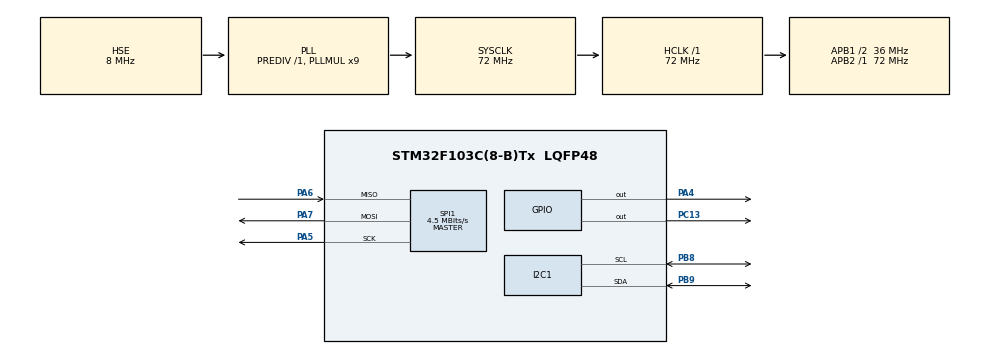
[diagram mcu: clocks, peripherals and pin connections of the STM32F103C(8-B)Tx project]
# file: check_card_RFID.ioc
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Mcu.Family=STM32F1
Mcu.Name=STM32F103C(8-B)Tx
Mcu.Package=LQFP48
NVIC.PriorityGroup=NVIC_PRIORITYGROUP_4
PA13.Mode=Serial_Wire
PA13.Signal=SYS_JTMS-SWDIO
PA14.Mode=Serial_Wire
PA14.Signal=SYS_JTCK-SWCLK
PA4.Signal=GPIO_Output
PA5.Mode=Full_Duplex_Master
PA5.Signal=SPI1_SCK
PA6.Mode=Full_Duplex_Master
PA6.Signal=SPI1_MISO
PA7.Mode=Full_Duplex_Master
PA7.Signal=SPI1_MOSI
PB8.Mode=I2C
PB8.Signal=I2C1_SCL
PB9.Mode=I2C
PB9.Signal=I2C1_SDA
PC13-TAMPER-RTC.Signal=GPIO_Output
PD0-OSC_IN.Mode=HSE-External-Oscillator
PD0-OSC_IN.Signal=RCC_OSC_IN
PD1-OSC_OUT.Mode=HSE-External-Oscillator
PD1-OSC_OUT.Signal=RCC_OSC_OUT
ProjectManager.HeapSize=0x200
ProjectManager.StackSize=0x400
ProjectManager.TargetToolchain=MDK-ARM V5
RCC.AHBFreq_Value=72000000
RCC.APB1CLKDivider=RCC_HCLK_DIV2
RCC.APB1Freq_Value=36000000
RCC.APB1TimFreq_Value=72000000
RCC.APB2Freq_Value=72000000
RCC.APB2TimFreq_Value=72000000
RCC.HCLKFreq_Value=72000000
RCC.PLLMUL=RCC_PLL_MUL9
RCC.PLLSourceVirtual=RCC_PLLSOURCE_HSE
RCC.SYSCLKFreq_VALUE=72000000
RCC.SYSCLKSource=RCC_SYSCLKSOURCE_PLLCLK
RCC.USBFreq_Value=72000000
SPI1.BaudRatePrescaler=SPI_BAUDRATEPRESCALER_16
SPI1.CalculateBaudRate=4.5 MBits/s
SPI1.Direction=SPI_DIRECTION_2LINES
SPI1.Mode=SPI_MODE_MASTER
SPI1.VirtualType=VM_MASTER
board=custom

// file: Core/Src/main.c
/* USER CODE BEGIN Header */
/**
  ******************************************************************************
  * @file           : main.c
  * @brief          : Main program body
  ******************************************************************************
  * @attention
  *
  * Copyright (c) 2023 STMicroelectronics.
  * All rights reserved.
  *
  * This software is licensed under terms that can be found in the LICENSE file
  * in the root directory of this software component.
  * If no LICENSE file comes with this software, it is provided AS-IS.
  *
  ******************************************************************************
  */
/* USER CODE END Header */
#include "main.h"

/* USER CODE BEGIN Includes */
#include "rc522.h"
#include "lcd.h"
#include "string.h"
#include "stdio.h"
#include "stdbool.h"
#include "flash.h"
/* USER CODE END Includes */

/* USER CODE BEGIN PD */
// Cac mode chuong trinh
#define ADDRESS_DATA_STORAGE (0x08000000+ 120*1024)
#define MODE_RUN 0
#define MODE_CHANGE 1
#define MODE_INPUT_PASS 3
// Trang thai
#define OK 0
#define NOT_OK 1
/* USER CODE END PD */

I2C_HandleTypeDef hi2c1;

SPI_HandleTypeDef hspi1;

/* USER CODE BEGIN PV */
int value;
char i,j,tmp;
char status;
char str[MFRC522_MAX_LEN]; //MFRC522_MAX_LEN = 16
char serNum[5];
int count_error_rfid = 0;
int wrong_card = 0;
uint8_t key_card[4] = {0x13,0xC8,0xC8,0x0D};
/* USER CODE END PV */

void SystemClock_Config(void);
static void MX_GPIO_Init(void);
static void MX_I2C1_Init(void);
static void MX_SPI1_Init(void);
void check_card_RFID(void);

int main(void)
{

  /* MCU Configuration--------------------------------------------------------*/

  /* Reset of all peripherals, Initializes the Flash interface and the Systick. */
  HAL_Init();

  /* Configure the system clock */
  SystemClock_Config();

  /* Initialize all configured peripherals */
  MX_GPIO_Init();
  MX_I2C1_Init();
  MX_SPI1_Init();
  /* USER CODE BEGIN 2 */
	lcd_init();
	lcd_send_cmd(0x80);
	lcd_send_string("WELLCOME HAUI");
	HAL_Delay(1000);
	lcd_clear();
	MFRC522_Init();
	Flash_Erase(ADDRESS_DATA_STORAGE);
	Flash_Write_Int(ADDRESS_DATA_STORAGE, 1000);
	value = Flash_Read_Int(ADDRESS_DATA_STORAGE);
  /* USER CODE END 2 */

  /* Infinite loop */
  while (1)
  {

    /* USER CODE BEGIN 3 */
		check_card_RFID();
  }
  /* USER CODE END 3 */
}

void SystemClock_Config(void)
{
  RCC_OscInitTypeDef RCC_OscInitStruct = {0};
  RCC_ClkInitTypeDef RCC_ClkInitStruct = {0};

  /** Initializes the RCC Oscillators according to the specified parameters
  * in the RCC_OscInitTypeDef structure.
  */
  RCC_OscInitStruct.OscillatorType = RCC_OSCILLATORTYPE_HSE;
  RCC_OscInitStruct.HSEState = RCC_HSE_ON;
  RCC_OscInitStruct.HSEPredivValue = RCC_HSE_PREDIV_DIV1;
  RCC_OscInitStruct.HSIState = RCC_HSI_ON;
  RCC_OscInitStruct.PLL.PLLState = RCC_PLL_ON;
  RCC_OscInitStruct.PLL.PLLSource = RCC_PLLSOURCE_HSE;
  RCC_OscInitStruct.PLL.PLLMUL = RCC_PLL_MUL9;
  if (HAL_RCC_OscConfig(&RCC_OscInitStruct) != HAL_OK)
  {
    Error_Handler();
  }

  /** Initializes the CPU, AHB and APB buses clocks
  */
  RCC_ClkInitStruct.ClockType = RCC_CLOCKTYPE_HCLK|RCC_CLOCKTYPE_SYSCLK
                              |RCC_CLOCKTYPE_PCLK1|RCC_CLOCKTYPE_PCLK2;
  RCC_ClkInitStruct.SYSCLKSource = RCC_SYSCLKSOURCE_PLLCLK;
  RCC_ClkInitStruct.AHBCLKDivider = RCC_SYSCLK_DIV1;
  RCC_ClkInitStruct.APB1CLKDivider = RCC_HCLK_DIV2;
  RCC_ClkInitStruct.APB2CLKDivider = RCC_HCLK_DIV1;

  if (HAL_RCC_ClockConfig(&RCC_ClkInitStruct, FLASH_LATENCY_2) != HAL_OK)
  {
    Error_Handler();
  }
}

static void MX_I2C1_Init(void)
{

  hi2c1.Instance = I2C1;
  hi2c1.Init.ClockSpeed = 100000;
  hi2c1.Init.DutyCycle = I2C_DUTYCYCLE_2;
  hi2c1.Init.OwnAddress1 = 0;
  hi2c1.Init.AddressingMode = I2C_ADDRESSINGMODE_7BIT;
  hi2c1.Init.DualAddressMode = I2C_DUALADDRESS_DISABLE;
  hi2c1.Init.OwnAddress2 = 0;
  hi2c1.Init.GeneralCallMode = I2C_GENERALCALL_DISABLE;
  hi2c1.Init.NoStretchMode = I2C_NOSTRETCH_DISABLE;
  if (HAL_I2C_Init(&hi2c1) != HAL_OK)
  {
    Error_Handler();
  }

}

static void MX_SPI1_Init(void)
{

  /* SPI1 parameter configuration*/
  hspi1.Instance = SPI1;
  hspi1.Init.Mode = SPI_MODE_MASTER;
  hspi1.Init.Direction = SPI_DIRECTION_2LINES;
  hspi1.Init.DataSize = SPI_DATASIZE_8BIT;
  hspi1.Init.CLKPolarity = SPI_POLARITY_LOW;
  hspi1.Init.CLKPhase = SPI_PHASE_1EDGE;
  hspi1.Init.NSS = SPI_NSS_SOFT;
  hspi1.Init.BaudRatePrescaler = SPI_BAUDRATEPRESCALER_16;
  hspi1.Init.FirstBit = SPI_FIRSTBIT_MSB;
  hspi1.Init.TIMode = SPI_TIMODE_DISABLE;
  hspi1.Init.CRCCalculation = SPI_CRCCALCULATION_DISABLE;
  hspi1.Init.CRCPolynomial = 10;
  if (HAL_SPI_Init(&hspi1) != HAL_OK)
  {
    Error_Handler();
  }

}

static void MX_GPIO_Init(void)
{
  GPIO_InitTypeDef GPIO_InitStruct = {0};

  /* GPIO Ports Clock Enable */
  __HAL_RCC_GPIOC_CLK_ENABLE();
  __HAL_RCC_GPIOD_CLK_ENABLE();
  __HAL_RCC_GPIOA_CLK_ENABLE();
  __HAL_RCC_GPIOB_CLK_ENABLE();

  /*Configure GPIO pin Output Level */
  HAL_GPIO_WritePin(GPIOC, GPIO_PIN_13, GPIO_PIN_RESET);

  /*Configure GPIO pin Output Level */
  HAL_GPIO_WritePin(GPIOA, GPIO_PIN_4, GPIO_PIN_RESET);

  /*Configure GPIO pin : PC13 */
  GPIO_InitStruct.Pin = GPIO_PIN_13;
  GPIO_InitStruct.Mode = GPIO_MODE_OUTPUT_PP;
  GPIO_InitStruct.Pull = GPIO_NOPULL;
  GPIO_InitStruct.Speed = GPIO_SPEED_FREQ_LOW;
  HAL_GPIO_Init(GPIOC, &GPIO_InitStruct);

  /*Configure GPIO pin : PA4 */
  GPIO_InitStruct.Pin = GPIO_PIN_4;
  GPIO_InitStruct.Mode = GPIO_MODE_OUTPUT_PP;
  GPIO_InitStruct.Pull = GPIO_NOPULL;
  GPIO_InitStruct.Speed = GPIO_SPEED_FREQ_LOW;
  HAL_GPIO_Init(GPIOA, &GPIO_InitStruct);

}

/* USER CODE BEGIN 4 */
void check_card_RFID()
{
	bool is_true_card = false;
	char buff_uID[10];
	status = MFRC522_Request(PICC_REQIDL, str);
	if(status == MI_OK)
	{

	}
	status = MFRC522_Anticoll(str);
	memcpy(serNum, str, 4);
	if(status == MI_OK)
	{
		lcd_clear();
		lcd_put_cur(0, 1);
		lcd_send_string("Card's number:");
		memset(buff_uID,0,10);
		sprintf(buff_uID, "%02X-%02X-%02X-%02X", serNum[0],serNum[1],serNum[2],serNum[3]);
		lcd_put_cur(1,0);
		lcd_send_string(buff_uID);
		HAL_Delay(2000);
		for(i=0; i<4; i++)
		{
			if(key_card[i] != serNum[i]) is_true_card = false;
			else is_true_card = true;
		}
		if(is_true_card == false)
		{
			lcd_clear();
			lcd_put_cur(0, 0);;
			lcd_send_string("Wrong card");
			HAL_Delay(3000);
		}
		else
		{
			//HAL_GPIO_Write(GPIOA,GPIO_PIN_0,1);
			lcd_clear();
			lcd_put_cur(0, 0);
			lcd_send_string("Door is open!");
			HAL_Delay(3000);
		}
	}
}
/* USER CODE END 4 */

void Error_Handler(void)
{
  __disable_irq();
  while (1)
  {
  }
}
